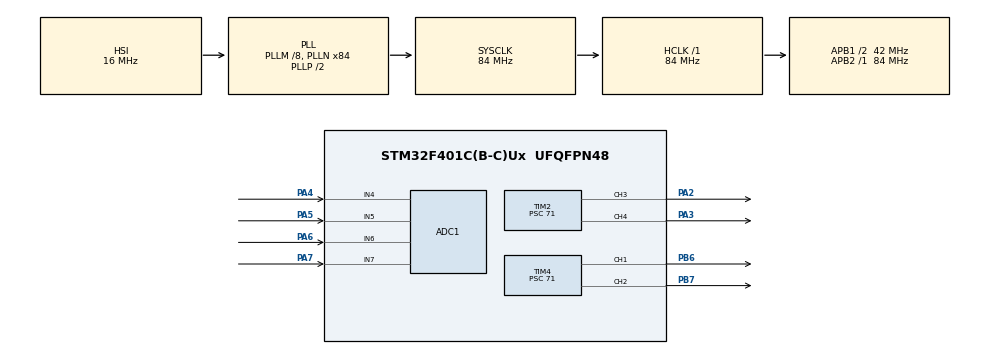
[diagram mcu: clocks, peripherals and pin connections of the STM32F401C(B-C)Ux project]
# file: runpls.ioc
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ADC1.Channel-0\#ChannelRegularConversion=ADC_CHANNEL_4
ADC1.Channel-4\#ChannelRegularConversion=ADC_CHANNEL_5
ADC1.Channel-5\#ChannelRegularConversion=ADC_CHANNEL_6
ADC1.Channel-6\#ChannelRegularConversion=ADC_CHANNEL_7
ADC1.NbrOfConversion=4
ADC1.NbrOfConversionFlag=1
ADC1.Rank-0\#ChannelRegularConversion=1
ADC1.Rank-4\#ChannelRegularConversion=2
ADC1.Rank-5\#ChannelRegularConversion=3
ADC1.Rank-6\#ChannelRegularConversion=4
ADC1.SamplingTime-0\#ChannelRegularConversion=ADC_SAMPLETIME_3CYCLES
ADC1.SamplingTime-4\#ChannelRegularConversion=ADC_SAMPLETIME_3CYCLES
ADC1.SamplingTime-5\#ChannelRegularConversion=ADC_SAMPLETIME_3CYCLES
ADC1.SamplingTime-6\#ChannelRegularConversion=ADC_SAMPLETIME_3CYCLES
ADC1.master=1
Dma.ADC1.0.Direction=DMA_PERIPH_TO_MEMORY
Dma.ADC1.0.FIFOMode=DMA_FIFOMODE_DISABLE
Dma.ADC1.0.Instance=DMA2_Stream0
Dma.ADC1.0.MemDataAlignment=DMA_MDATAALIGN_HALFWORD
Dma.ADC1.0.MemInc=DMA_MINC_ENABLE
Dma.ADC1.0.Mode=DMA_NORMAL
Dma.ADC1.0.PeriphDataAlignment=DMA_PDATAALIGN_HALFWORD
Dma.ADC1.0.PeriphInc=DMA_PINC_DISABLE
Dma.ADC1.0.Priority=DMA_PRIORITY_LOW
Dma.Request0=ADC1
Mcu.Family=STM32F4
Mcu.Name=STM32F401C(B-C)Ux
Mcu.Package=UFQFPN48
NVIC.DMA2_Stream0_IRQn=true\:0\:0\:false\:false\:true\:false\:true\:true
NVIC.PriorityGroup=NVIC_PRIORITYGROUP_4
PA13.Mode=Serial_Wire
PA13.Signal=SYS_JTMS-SWDIO
PA14.Mode=Serial_Wire
PA14.Signal=SYS_JTCK-SWCLK
PA2.Signal=S_TIM2_CH3
PA3.Signal=S_TIM2_CH4
PA4.Signal=ADCx_IN4
PA5.Signal=ADCx_IN5
PA6.Signal=ADCx_IN6
PA7.Signal=ADCx_IN7
PB6.Signal=S_TIM4_CH1
PB7.Signal=S_TIM4_CH2
PH0\ -\ OSC_IN.Mode=HSE-External-Oscillator
PH0\ -\ OSC_IN.Signal=RCC_OSC_IN
PH1\ -\ OSC_OUT.Mode=HSE-External-Oscillator
PH1\ -\ OSC_OUT.Signal=RCC_OSC_OUT
ProjectManager.HeapSize=0x200
ProjectManager.StackSize=0x400
ProjectManager.TargetToolchain=STM32CubeIDE
RCC.48MHZClocksFreq_Value=42000000
RCC.AHBFreq_Value=84000000
RCC.APB1CLKDivider=RCC_HCLK_DIV2
RCC.APB1Freq_Value=42000000
RCC.APB1TimFreq_Value=84000000
RCC.APB2Freq_Value=84000000
RCC.APB2TimFreq_Value=84000000
RCC.CortexFreq_Value=84000000
RCC.HCLKFreq_Value=84000000
RCC.HSE_VALUE=25000000
RCC.HSI_VALUE=16000000
RCC.LSE_VALUE=32768
RCC.PLLM=8
RCC.PLLN=84
RCC.SYSCLKFreq_VALUE=84000000
RCC.SYSCLKSource=RCC_SYSCLKSOURCE_PLLCLK
RCC.VCOOutputFreq_Value=168000000
SH.ADCx_IN4.0=ADC1_IN4,IN4
SH.ADCx_IN5.0=ADC1_IN5,IN5
SH.ADCx_IN6.0=ADC1_IN6,IN6
SH.ADCx_IN7.0=ADC1_IN7,IN7
SH.S_TIM2_CH3.0=TIM2_CH3,PWM Generation3 CH3
SH.S_TIM2_CH4.0=TIM2_CH4,PWM Generation4 CH4
SH.S_TIM4_CH1.0=TIM4_CH1,PWM Generation1 CH1
SH.S_TIM4_CH2.0=TIM4_CH2,PWM Generation2 CH2
TIM2.Channel-PWM\ Generation3\ CH3=TIM_CHANNEL_3
TIM2.Channel-PWM\ Generation4\ CH4=TIM_CHANNEL_4
TIM2.Period=999
TIM2.Prescaler=71
TIM4.Channel-PWM\ Generation1\ CH1=TIM_CHANNEL_1
TIM4.Channel-PWM\ Generation2\ CH2=TIM_CHANNEL_2
TIM4.Period=999
TIM4.Prescaler=71
VP_TIM2_VS_ClockSourceINT.Mode=Internal
VP_TIM4_VS_ClockSourceINT.Mode=Internal
board=custom

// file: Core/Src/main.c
/* USER CODE BEGIN Header */
/**
  ******************************************************************************
  * @file           : main.c
  * @brief          : Main program body
  ******************************************************************************
  * @attention
  *
  * Copyright (c) 2024 STMicroelectronics.
  * All rights reserved.
  *
  * This software is licensed under terms that can be found in the LICENSE file
  * in the root directory of this software component.
  * If no LICENSE file comes with this software, it is provided AS-IS.
  *
  ******************************************************************************
  */
/* USER CODE END Header */
#include "main.h"

/* USER CODE BEGIN PD */
//#define STOP 0
//#define LEFT 1
//#define RIGHT 2
//#define FOWARD 3
/* USER CODE END PD */

ADC_HandleTypeDef hadc1;
DMA_HandleTypeDef hdma_adc1;

TIM_HandleTypeDef htim2;
TIM_HandleTypeDef htim4;

/* USER CODE BEGIN PV */
uint16_t sensor[4];
float error = 0;
float P, I, D;
float lspeed, rspeed;
const int basespeed = 220;
float errors[6];
float last_error = 0;
int check = 0;
/* USER CODE END PV */

void SystemClock_Config(void);
static void MX_GPIO_Init(void);
static void MX_DMA_Init(void);
static void MX_ADC1_Init(void);
static void MX_TIM2_Init(void);
static void MX_TIM4_Init(void);
/* USER CODE BEGIN PFP */
void sensor_read() {
	HAL_ADC_Start_DMA(&hadc1, (uint32_t*) sensor, 4);
	HAL_Delay(5);
	if((sensor[1] < 2100 || (sensor[1] < 2100 && sensor[0] > 3200) || (sensor[1] < 2100 && sensor[2] > 3200)) ||
	     ((sensor[1] > 2900 && sensor[0] > 3200) || (sensor[1] > 2900 && sensor[2] > 3200))) {
	      check++;

	  } else {
		  check = 0;
	  }
}
void past_errors(int error) {
	for (int i = 5; i > 0; i--)
	errors[i] = errors[i-1];
	errors[0] = error;
}
int errors_integral(int index)//tong cac gia tri error
{
  int sum = 0;
  for (int i = 0; i < index; i++)
  {
    	  sum += errors[i];
      }
  return sum;
}
void setDir( float lspeed, float rspeed) { // timer 4 banh trai timer 2 banh phai
  if(lspeed < 0) {
	  __HAL_TIM_SET_COMPARE(&htim4, TIM_CHANNEL_1, 0);
	  __HAL_TIM_SET_COMPARE(&htim4, TIM_CHANNEL_2, -lspeed);
  } else if(lspeed > 0){
	  __HAL_TIM_SET_COMPARE(&htim4, TIM_CHANNEL_1, lspeed);
	  __HAL_TIM_SET_COMPARE(&htim4, TIM_CHANNEL_2, 0);
  } else {
	  __HAL_TIM_SET_COMPARE(&htim4, TIM_CHANNEL_1, 0);
	  __HAL_TIM_SET_COMPARE(&htim4, TIM_CHANNEL_2, 0);
  }
  if(rspeed < 0) {
	  __HAL_TIM_SET_COMPARE(&htim2, TIM_CHANNEL_4, 0);
	  __HAL_TIM_SET_COMPARE(&htim2, TIM_CHANNEL_3, -rspeed);
  } else if(rspeed > 0){
	  __HAL_TIM_SET_COMPARE(&htim2, TIM_CHANNEL_4, rspeed);
	  __HAL_TIM_SET_COMPARE(&htim2, TIM_CHANNEL_3, 0);
  } else {
	  __HAL_TIM_SET_COMPARE(&htim2, TIM_CHANNEL_4, 0);
	  __HAL_TIM_SET_COMPARE(&htim2, TIM_CHANNEL_3, 0);
  }
}
void turn() {
//	   if((sensor[0] > 2200 && sensor[0] < 2900)) {
//	     for(int i = 0; i < 30; i++) {
//	     __HAL_TIM_SET_COMPARE(&htim4, TIM_CHANNEL_1, basespeed - 5 * i);
//	     __HAL_TIM_SET_COMPARE(&htim4, TIM_CHANNEL_2, 0);
//	     __HAL_TIM_SET_COMPARE(&htim2, TIM_CHANNEL_4, basespeed - 5 * i);
//	     __HAL_TIM_SET_COMPARE(&htim2, TIM_CHANNEL_3, 0);
//	     }
	   //}
	   if(sensor[1] < 2100) {
		   if(check > 70) {
		   	   lspeed = -150;
		   	   rspeed = 200;
		   	   setDir(lspeed, rspeed);
		   }
	   } else if((sensor[1] < 2100 && sensor[0] > 3000) || (sensor[1] < 2100 && sensor[2] > 3000)) {
		   	   lspeed = -150;
		   	   rspeed = 200;
		   	   setDir(lspeed, rspeed);
	   }
	   else if((sensor[1] > 2900 && sensor[0] > 3000) || (sensor[1] > 2900 && sensor[2] > 3000)) {
			  lspeed = 200;
			  rspeed = -150;
			  setDir(lspeed, rspeed);

	   } else if(sensor[1] > 2900 && sensor[0] > 3200 && sensor[2] > 3100 && sensor[3] > 420) {
		   lspeed = -200;
		   rspeed = 250;
		   setDir(lspeed, rspeed);
	   }
	}
void pid_left(float Kp, float Ki, float Kd) {
  past_errors(error);
  int sum = errors_integral(5);
  error = 3200 - sensor[1];
  P = Kp * error;
  I = Ki * sum;
  D = Kd * (error - last_error);
  float speedChange = P + D + I;
  last_error = error;
  lspeed = basespeed - speedChange;
  rspeed = basespeed + speedChange;
  if(lspeed > 250) lspeed = 249;
  if(rspeed > 250) rspeed = 249;
  if(lspeed < -250) lspeed = -249;
  if(rspeed < -250) rspeed = -249;
  if(!(sensor[1] < 2100 || (sensor[1] < 2100 && sensor[0] > 3000) || (sensor[1] < 2100 && sensor[2] > 3000)) &&
     !((sensor[1] > 2900 && sensor[0] > 3000) || (sensor[1] > 2900 && sensor[2] > 3000))) {
      setDir(lspeed, rspeed);
  } else {
      turn();
  }
}

/* USER CODE END PFP */

int main(void)
{

  /* MCU Configuration--------------------------------------------------------*/

  /* Reset of all peripherals, Initializes the Flash interface and the Systick. */
  HAL_Init();

  /* Configure the system clock */
  SystemClock_Config();

  /* Initialize all configured peripherals */
  MX_GPIO_Init();
  MX_DMA_Init();
  MX_ADC1_Init();
  MX_TIM2_Init();
  MX_TIM4_Init();
  /* USER CODE BEGIN 2 */
   HAL_TIM_PWM_Start(&htim2, TIM_CHANNEL_3);
   HAL_TIM_PWM_Start(&htim2, TIM_CHANNEL_4);
   HAL_TIM_PWM_Start(&htim4, TIM_CHANNEL_1);
   HAL_TIM_PWM_Start(&htim4, TIM_CHANNEL_2);
  /* USER CODE END 2 */

  /* Infinite loop */
  while (1)
  {

    /* USER CODE BEGIN 3 */
	  sensor_read();
	  pid_left(0.08, 0, 0.3);
  }
  /* USER CODE END 3 */
}

void SystemClock_Config(void)
{
  RCC_OscInitTypeDef RCC_OscInitStruct = {0};
  RCC_ClkInitTypeDef RCC_ClkInitStruct = {0};

  /** Configure the main internal regulator output voltage
  */
  __HAL_RCC_PWR_CLK_ENABLE();
  __HAL_PWR_VOLTAGESCALING_CONFIG(PWR_REGULATOR_VOLTAGE_SCALE2);

  /** Initializes the RCC Oscillators according to the specified parameters
  * in the RCC_OscInitTypeDef structure.
  */
  RCC_OscInitStruct.OscillatorType = RCC_OSCILLATORTYPE_HSI;
  RCC_OscInitStruct.HSIState = RCC_HSI_ON;
  RCC_OscInitStruct.HSICalibrationValue = RCC_HSICALIBRATION_DEFAULT;
  RCC_OscInitStruct.PLL.PLLState = RCC_PLL_ON;
  RCC_OscInitStruct.PLL.PLLSource = RCC_PLLSOURCE_HSI;
  RCC_OscInitStruct.PLL.PLLM = 8;
  RCC_OscInitStruct.PLL.PLLN = 84;
  RCC_OscInitStruct.PLL.PLLP = RCC_PLLP_DIV2;
  RCC_OscInitStruct.PLL.PLLQ = 4;
  if (HAL_RCC_OscConfig(&RCC_OscInitStruct) != HAL_OK)
  {
    Error_Handler();
  }

  /** Initializes the CPU, AHB and APB buses clocks
  */
  RCC_ClkInitStruct.ClockType = RCC_CLOCKTYPE_HCLK|RCC_CLOCKTYPE_SYSCLK
                              |RCC_CLOCKTYPE_PCLK1|RCC_CLOCKTYPE_PCLK2;
  RCC_ClkInitStruct.SYSCLKSource = RCC_SYSCLKSOURCE_PLLCLK;
  RCC_ClkInitStruct.AHBCLKDivider = RCC_SYSCLK_DIV1;
  RCC_ClkInitStruct.APB1CLKDivider = RCC_HCLK_DIV2;
  RCC_ClkInitStruct.APB2CLKDivider = RCC_HCLK_DIV1;

  if (HAL_RCC_ClockConfig(&RCC_ClkInitStruct, FLASH_LATENCY_2) != HAL_OK)
  {
    Error_Handler();
  }
}

static void MX_ADC1_Init(void)
{

  ADC_ChannelConfTypeDef sConfig = {0};

  /** Configure the global features of the ADC (Clock, Resolution, Data Alignment and number of conversion)
  */
  hadc1.Instance = ADC1;
  hadc1.Init.ClockPrescaler = ADC_CLOCK_SYNC_PCLK_DIV4;
  hadc1.Init.Resolution = ADC_RESOLUTION_12B;
  hadc1.Init.ScanConvMode = ENABLE;
  hadc1.Init.ContinuousConvMode = DISABLE;
  hadc1.Init.DiscontinuousConvMode = DISABLE;
  hadc1.Init.ExternalTrigConvEdge = ADC_EXTERNALTRIGCONVEDGE_NONE;
  hadc1.Init.ExternalTrigConv = ADC_SOFTWARE_START;
  hadc1.Init.DataAlign = ADC_DATAALIGN_RIGHT;
  hadc1.Init.NbrOfConversion = 4;
  hadc1.Init.DMAContinuousRequests = DISABLE;
  hadc1.Init.EOCSelection = ADC_EOC_SINGLE_CONV;
  if (HAL_ADC_Init(&hadc1) != HAL_OK)
  {
    Error_Handler();
  }

  /** Configure for the selected ADC regular channel its corresponding rank in the sequencer and its sample time.
  */
  sConfig.Channel = ADC_CHANNEL_4;
  sConfig.Rank = 1;
  sConfig.SamplingTime = ADC_SAMPLETIME_3CYCLES;
  if (HAL_ADC_ConfigChannel(&hadc1, &sConfig) != HAL_OK)
  {
    Error_Handler();
  }

  /** Configure for the selected ADC regular channel its corresponding rank in the sequencer and its sample time.
  */
  sConfig.Channel = ADC_CHANNEL_5;
  sConfig.Rank = 2;
  if (HAL_ADC_ConfigChannel(&hadc1, &sConfig) != HAL_OK)
  {
    Error_Handler();
  }

  /** Configure for the selected ADC regular channel its corresponding rank in the sequencer and its sample time.
  */
  sConfig.Channel = ADC_CHANNEL_6;
  sConfig.Rank = 3;
  if (HAL_ADC_ConfigChannel(&hadc1, &sConfig) != HAL_OK)
  {
    Error_Handler();
  }

  /** Configure for the selected ADC regular channel its corresponding rank in the sequencer and its sample time.
  */
  sConfig.Channel = ADC_CHANNEL_7;
  sConfig.Rank = 4;
  if (HAL_ADC_ConfigChannel(&hadc1, &sConfig) != HAL_OK)
  {
    Error_Handler();
  }

}

static void MX_TIM2_Init(void)
{

  TIM_ClockConfigTypeDef sClockSourceConfig = {0};
  TIM_MasterConfigTypeDef sMasterConfig = {0};
  TIM_OC_InitTypeDef sConfigOC = {0};

  htim2.Instance = TIM2;
  htim2.Init.Prescaler = 34;
  htim2.Init.CounterMode = TIM_COUNTERMODE_UP;
  htim2.Init.Period = 249;
  htim2.Init.ClockDivision = TIM_CLOCKDIVISION_DIV1;
  htim2.Init.AutoReloadPreload = TIM_AUTORELOAD_PRELOAD_DISABLE;
  if (HAL_TIM_Base_Init(&htim2) != HAL_OK)
  {
    Error_Handler();
  }
  sClockSourceConfig.ClockSource = TIM_CLOCKSOURCE_INTERNAL;
  if (HAL_TIM_ConfigClockSource(&htim2, &sClockSourceConfig) != HAL_OK)
  {
    Error_Handler();
  }
  if (HAL_TIM_PWM_Init(&htim2) != HAL_OK)
  {
    Error_Handler();
  }
  sMasterConfig.MasterOutputTrigger = TIM_TRGO_RESET;
  sMasterConfig.MasterSlaveMode = TIM_MASTERSLAVEMODE_DISABLE;
  if (HAL_TIMEx_MasterConfigSynchronization(&htim2, &sMasterConfig) != HAL_OK)
  {
    Error_Handler();
  }
  sConfigOC.OCMode = TIM_OCMODE_PWM1;
  sConfigOC.Pulse = 0;
  sConfigOC.OCPolarity = TIM_OCPOLARITY_HIGH;
  sConfigOC.OCFastMode = TIM_OCFAST_DISABLE;
  if (HAL_TIM_PWM_ConfigChannel(&htim2, &sConfigOC, TIM_CHANNEL_3) != HAL_OK)
  {
    Error_Handler();
  }
  if (HAL_TIM_PWM_ConfigChannel(&htim2, &sConfigOC, TIM_CHANNEL_4) != HAL_OK)
  {
    Error_Handler();
  }
  HAL_TIM_MspPostInit(&htim2);

}

static void MX_TIM4_Init(void)
{

  TIM_ClockConfigTypeDef sClockSourceConfig = {0};
  TIM_MasterConfigTypeDef sMasterConfig = {0};
  TIM_OC_InitTypeDef sConfigOC = {0};

  htim4.Instance = TIM4;
  htim4.Init.Prescaler = 34;
  htim4.Init.CounterMode = TIM_COUNTERMODE_UP;
  htim4.Init.Period = 249;
  htim4.Init.ClockDivision = TIM_CLOCKDIVISION_DIV1;
  htim4.Init.AutoReloadPreload = TIM_AUTORELOAD_PRELOAD_DISABLE;
  if (HAL_TIM_Base_Init(&htim4) != HAL_OK)
  {
    Error_Handler();
  }
  sClockSourceConfig.ClockSource = TIM_CLOCKSOURCE_INTERNAL;
  if (HAL_TIM_ConfigClockSource(&htim4, &sClockSourceConfig) != HAL_OK)
  {
    Error_Handler();
  }
  if (HAL_TIM_PWM_Init(&htim4) != HAL_OK)
  {
    Error_Handler();
  }
  sMasterConfig.MasterOutputTrigger = TIM_TRGO_RESET;
  sMasterConfig.MasterSlaveMode = TIM_MASTERSLAVEMODE_DISABLE;
  if (HAL_TIMEx_MasterConfigSynchronization(&htim4, &sMasterConfig) != HAL_OK)
  {
    Error_Handler();
  }
  sConfigOC.OCMode = TIM_OCMODE_PWM1;
  sConfigOC.Pulse = 0;
  sConfigOC.OCPolarity = TIM_OCPOLARITY_HIGH;
  sConfigOC.OCFastMode = TIM_OCFAST_DISABLE;
  if (HAL_TIM_PWM_ConfigChannel(&htim4, &sConfigOC, TIM_CHANNEL_1) != HAL_OK)
  {
    Error_Handler();
  }
  if (HAL_TIM_PWM_ConfigChannel(&htim4, &sConfigOC, TIM_CHANNEL_2) != HAL_OK)
  {
    Error_Handler();
  }
  HAL_TIM_MspPostInit(&htim4);

}

static void MX_DMA_Init(void)
{

  /* DMA controller clock enable */
  __HAL_RCC_DMA2_CLK_ENABLE();

  /* DMA interrupt init */
  /* DMA2_Stream0_IRQn interrupt configuration */
  HAL_NVIC_SetPriority(DMA2_Stream0_IRQn, 0, 0);
  HAL_NVIC_EnableIRQ(DMA2_Stream0_IRQn);

}

static void MX_GPIO_Init(void)
{

  /* GPIO Ports Clock Enable */
  __HAL_RCC_GPIOH_CLK_ENABLE();
  __HAL_RCC_GPIOA_CLK_ENABLE();
  __HAL_RCC_GPIOB_CLK_ENABLE();

}

void Error_Handler(void)
{
  __disable_irq();
  while (1)
  {
  }
}
